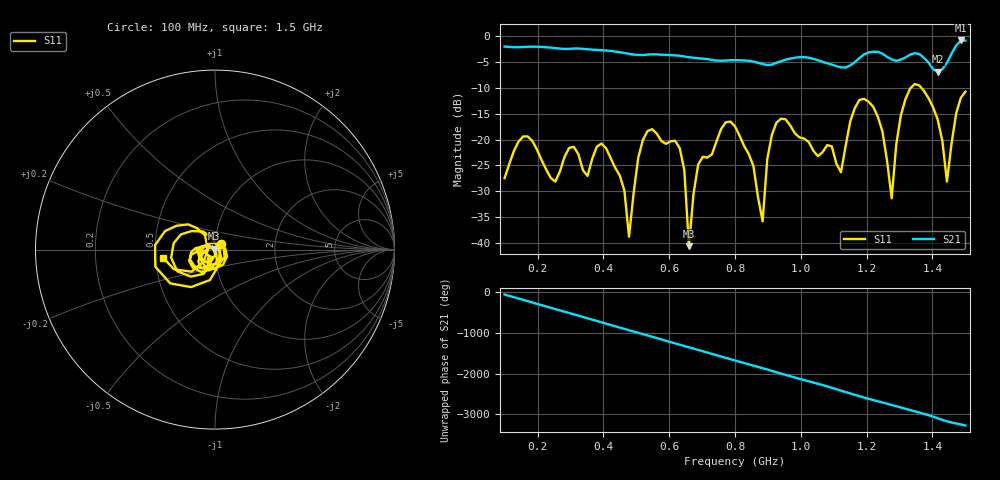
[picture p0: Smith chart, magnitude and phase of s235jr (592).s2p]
! NanoVNA-App
! Date: 2025-09-25 15:08:46
! Start: 100MHz Stop: 1,5GHz Points: 101
! S-Parameter data: F S11 S21 S12 S22
# Hz S RI R 50
!  Frequency  S11_Real  S11_Imag  S21_Real  S21_Imag  S12_Real  S12_Imag  S22_Real  S22_Imag
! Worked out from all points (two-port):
!   101 points, 100 MHz to 1.5 GHz, reference 50 ohm
!   highest |S21| = -0.77 dB at 1.486 GHz (marker M1); lowest = -6.9 dB at 1.416 GHz (marker M2)
!   |S21| within 3 dB of the highest: start of sweep to 636.1 MHz; 1.186 GHz to 1.258 GHz (71.88 MHz wide, 5.88 % of centre) (the widest 2 of 4)
!   lowest |S11| = -40.7 dB at 660 MHz (marker M3), VSWR 1.02, Z = 49.3 + j0.561 ohm
!   |S11| at or under -10 dB: start of sweep to 1.334 GHz; 1.367 GHz to end of sweep
!   S12 and S22 are empty: the file has one direction only
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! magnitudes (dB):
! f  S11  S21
! 100 MHz  -27.5  -2.0
! 156 MHz  -19.4  -2.0
! 338 MHz  -25.9  -2.4
! 408 MHz  -21.7  -2.7
! 478 MHz  -38.8  -3.4
! 520 MHz  -20.1  -3.6
! 576 MHz  -20.3  -3.5
! 632 MHz  -21.6  -3.7
! 660 MHz  -40.7  -4.0
! 688 MHz  -24.9  -4.2
! 800 MHz  -17.4  -4.6
! 884 MHz  -35.9  -5.3
! 926 MHz  -16.7  -5.1
! 1.038 GHz  -22.2  -4.3
! 1.122 GHz  -26.3  -6.0
! 1.192 GHz  -12.1  -3.5
! 1.276 GHz  -31.4  -4.5
! 1.332 GHz  -10.1  -3.5
! 1.416 GHz  -16.2  -6.9
! 1.444 GHz  -28.1  -5.1
! 1.486 GHz  -11.9  -0.8
! 1.5 GHz  -10.7  -0.8
